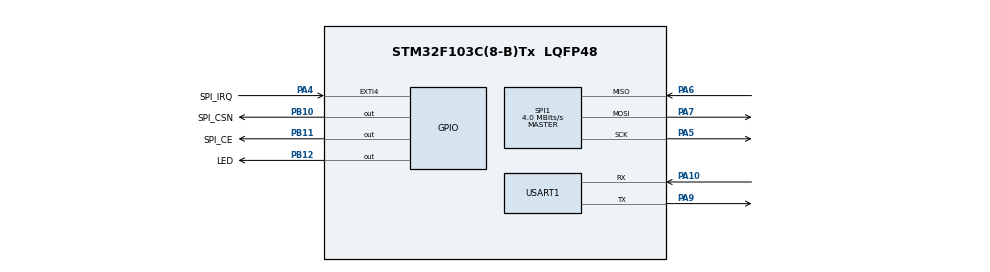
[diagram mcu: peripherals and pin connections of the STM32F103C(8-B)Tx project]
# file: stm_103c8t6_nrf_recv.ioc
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Mcu.Family=STM32F1
Mcu.Name=STM32F103C(8-B)Tx
Mcu.Package=LQFP48
NVIC.PriorityGroup=NVIC_PRIORITYGROUP_4
NVIC.SPI1_IRQn=true\:0\:0\:false\:false\:true\:true\:true
NVIC.USART1_IRQn=true\:0\:0\:false\:false\:true\:true\:true
PA10.Mode=Asynchronous
PA10.Signal=USART1_RX
PA13.Mode=Serial_Wire
PA13.Signal=SYS_JTMS-SWDIO
PA14.Mode=Serial_Wire
PA14.Signal=SYS_JTCK-SWCLK
PA4.GPIO_Label=SPI_IRQ
PA4.GPIO_PuPd=GPIO_PULLUP
PA4.Signal=GPXTI4
PA5.Mode=Full_Duplex_Master
PA5.Signal=SPI1_SCK
PA6.Mode=Full_Duplex_Master
PA6.Signal=SPI1_MISO
PA7.Mode=Full_Duplex_Master
PA7.Signal=SPI1_MOSI
PA9.Mode=Asynchronous
PA9.Signal=USART1_TX
PB10.GPIO_Label=SPI_CSN
PB10.Signal=GPIO_Output
PB11.GPIO_Label=SPI_CE
PB11.Signal=GPIO_Output
PB12.GPIO_Label=LED
PB12.Signal=GPIO_Output
ProjectManager.HeapSize=0x200
ProjectManager.StackSize=0x400
ProjectManager.TargetToolchain=STM32CubeIDE
RCC.APB1Freq_Value=8000000
RCC.APB2Freq_Value=8000000
SPI1.BaudRatePrescaler=SPI_BAUDRATEPRESCALER_2
SPI1.CLKPolarity=SPI_POLARITY_LOW
SPI1.CalculateBaudRate=4.0 MBits/s
SPI1.Direction=SPI_DIRECTION_2LINES
SPI1.Mode=SPI_MODE_MASTER
SPI1.VirtualType=VM_MASTER
USART1.VirtualMode=VM_ASYNC
board=custom

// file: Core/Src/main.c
/* USER CODE BEGIN Header */
/**
  ******************************************************************************
  * @file           : main.c
  * @brief          : Main program body
  ******************************************************************************
  * @attention
  *
  * <h2><center>&copy; Copyright (c) 2020 STMicroelectronics.
  * All rights reserved.</center></h2>
  *
  * This software component is licensed by ST under BSD 3-Clause license,
  * the "License"; You may not use this file except in compliance with the
  * License. You may obtain a copy of the License at:
  *                        opensource.org/licenses/BSD-3-Clause
  *
  ******************************************************************************
  */
/* USER CODE END Header */

#include "main.h"

/* USER CODE BEGIN Includes */
#include <stdio.h>
#include <string.h>
/* USER CODE END Includes */

SPI_HandleTypeDef hspi1;

UART_HandleTypeDef huart1;

void SystemClock_Config(void);
static void MX_GPIO_Init(void);
static void MX_SPI1_Init(void);
static void MX_USART1_UART_Init(void);

/* USER CODE BEGIN 0 */

unsigned char   	uRx_Data[RECV_MAX] 	;
unsigned char * 	pRx_Data			;
unsigned int 		uLength				;
// unsigned int		recv_flag			;

// Override this function in order to printf via USART1
int __io_putchar(int ch) {
	HAL_UART_Transmit(&huart1, (uint8_t*)&ch, 1, HAL_MAX_DELAY);
	return ch;
}

void dealWithRxBuffer(){
	// When USART1 received something(stored in uRx_Data), interrupt will call this function.
	// for example, you can output what you received via USART1, which will be shown on you computer.
}

// uint8_t msg[] = "NRF Hello! - STM32. Hi Hi Hi Hello Hello Hello BUAA BUAA BUAA\n";
uint8_t buff[33];
/* USER CODE END 0 */

int main(void)
{

  /* MCU Configuration--------------------------------------------------------*/

  /* Reset of all peripherals, Initializes the Flash interface and the Systick. */
  HAL_Init();

  /* Configure the system clock */
  SystemClock_Config();

  /* Initialize all configured peripherals */
  MX_GPIO_Init();
  MX_SPI1_Init();
  MX_USART1_UART_Init();
  /* USER CODE BEGIN 2 */
  NRF24L01_Init();
  printf("Setup!\n");
  printf("NRF24L01 2.4G Test Begin\n");

  while (NRF24L01_Check()) {
	  printf("NRF24L01 Module not detected\n");
	  HAL_Delay(1000);
  }
  printf("NRF24L01 Module Start Work\n");
  NRF24L01_RX_Mode();
  printf("Receive Data Mode: \n");

  /* USER CODE END 2 */

  /* Infinite loop */
  while (1)
  {

    /* USER CODE BEGIN 3 */
	  HAL_GPIO_TogglePin(GPIOB, GPIO_PIN_12);

	  printf("Ready to receive\n");
	  uint8_t recv_flg = NRF24L01_RxPacket(buff);
	  if (recv_flg == 0) {
		  buff[32] = 0;
		  printf("Successful received : %s\n", buff);
		  for (int i = 1; i <= 5; i++) {
			  HAL_GPIO_WritePin(GPIOB, GPIO_PIN_12, GPIO_PIN_RESET);
			  HAL_Delay(50);
			  HAL_GPIO_WritePin(GPIOB, GPIO_PIN_12, GPIO_PIN_SET);
			  HAL_Delay(50);
		  }
	  }
	  else {
		  HAL_GPIO_TogglePin(GPIOB, GPIO_PIN_12);
	  }

	  HAL_Delay(1000);

  }
  /* USER CODE END 3 */
}

void SystemClock_Config(void)
{
  RCC_OscInitTypeDef RCC_OscInitStruct = {0};
  RCC_ClkInitTypeDef RCC_ClkInitStruct = {0};

  /** Initializes the CPU, AHB and APB busses clocks
  */
  RCC_OscInitStruct.OscillatorType = RCC_OSCILLATORTYPE_HSI;
  RCC_OscInitStruct.HSIState = RCC_HSI_ON;
  RCC_OscInitStruct.HSICalibrationValue = RCC_HSICALIBRATION_DEFAULT;
  RCC_OscInitStruct.PLL.PLLState = RCC_PLL_NONE;
  if (HAL_RCC_OscConfig(&RCC_OscInitStruct) != HAL_OK)
  {
    Error_Handler();
  }
  /** Initializes the CPU, AHB and APB busses clocks
  */
  RCC_ClkInitStruct.ClockType = RCC_CLOCKTYPE_HCLK|RCC_CLOCKTYPE_SYSCLK
                              |RCC_CLOCKTYPE_PCLK1|RCC_CLOCKTYPE_PCLK2;
  RCC_ClkInitStruct.SYSCLKSource = RCC_SYSCLKSOURCE_HSI;
  RCC_ClkInitStruct.AHBCLKDivider = RCC_SYSCLK_DIV1;
  RCC_ClkInitStruct.APB1CLKDivider = RCC_HCLK_DIV1;
  RCC_ClkInitStruct.APB2CLKDivider = RCC_HCLK_DIV1;

  if (HAL_RCC_ClockConfig(&RCC_ClkInitStruct, FLASH_LATENCY_0) != HAL_OK)
  {
    Error_Handler();
  }
}

static void MX_SPI1_Init(void)
{

  /* SPI1 parameter configuration*/
  hspi1.Instance = SPI1;
  hspi1.Init.Mode = SPI_MODE_MASTER;
  hspi1.Init.Direction = SPI_DIRECTION_2LINES;
  hspi1.Init.DataSize = SPI_DATASIZE_8BIT;
  hspi1.Init.CLKPolarity = SPI_POLARITY_LOW;
  hspi1.Init.CLKPhase = SPI_PHASE_1EDGE;
  hspi1.Init.NSS = SPI_NSS_SOFT;
  hspi1.Init.BaudRatePrescaler = SPI_BAUDRATEPRESCALER_2;
  hspi1.Init.FirstBit = SPI_FIRSTBIT_MSB;
  hspi1.Init.TIMode = SPI_TIMODE_DISABLE;
  hspi1.Init.CRCCalculation = SPI_CRCCALCULATION_DISABLE;
  hspi1.Init.CRCPolynomial = 10;
  if (HAL_SPI_Init(&hspi1) != HAL_OK)
  {
    Error_Handler();
  }

}

static void MX_USART1_UART_Init(void)
{

  huart1.Instance = USART1;
  huart1.Init.BaudRate = 115200;
  huart1.Init.WordLength = UART_WORDLENGTH_8B;
  huart1.Init.StopBits = UART_STOPBITS_1;
  huart1.Init.Parity = UART_PARITY_NONE;
  huart1.Init.Mode = UART_MODE_TX_RX;
  huart1.Init.HwFlowCtl = UART_HWCONTROL_NONE;
  huart1.Init.OverSampling = UART_OVERSAMPLING_16;
  if (HAL_UART_Init(&huart1) != HAL_OK)
  {
    Error_Handler();
  }

}

static void MX_GPIO_Init(void)
{
  GPIO_InitTypeDef GPIO_InitStruct = {0};

  /* GPIO Ports Clock Enable */
  __HAL_RCC_GPIOA_CLK_ENABLE();
  __HAL_RCC_GPIOB_CLK_ENABLE();

  /*Configure GPIO pin Output Level */
  HAL_GPIO_WritePin(GPIOB, SPI_CSN_Pin|SPI_CE_Pin|LED_Pin, GPIO_PIN_RESET);

  /*Configure GPIO pin : SPI_IRQ_Pin */
  GPIO_InitStruct.Pin = SPI_IRQ_Pin;
  GPIO_InitStruct.Mode = GPIO_MODE_IT_RISING;
  GPIO_InitStruct.Pull = GPIO_PULLUP;
  HAL_GPIO_Init(SPI_IRQ_GPIO_Port, &GPIO_InitStruct);

  /*Configure GPIO pins : SPI_CSN_Pin SPI_CE_Pin LED_Pin */
  GPIO_InitStruct.Pin = SPI_CSN_Pin|SPI_CE_Pin|LED_Pin;
  GPIO_InitStruct.Mode = GPIO_MODE_OUTPUT_PP;
  GPIO_InitStruct.Pull = GPIO_NOPULL;
  GPIO_InitStruct.Speed = GPIO_SPEED_FREQ_LOW;
  HAL_GPIO_Init(GPIOB, &GPIO_InitStruct);

}

void Error_Handler(void)
{
}

/************************ (C) COPYRIGHT STMicroelectronics *****END OF FILE****/
